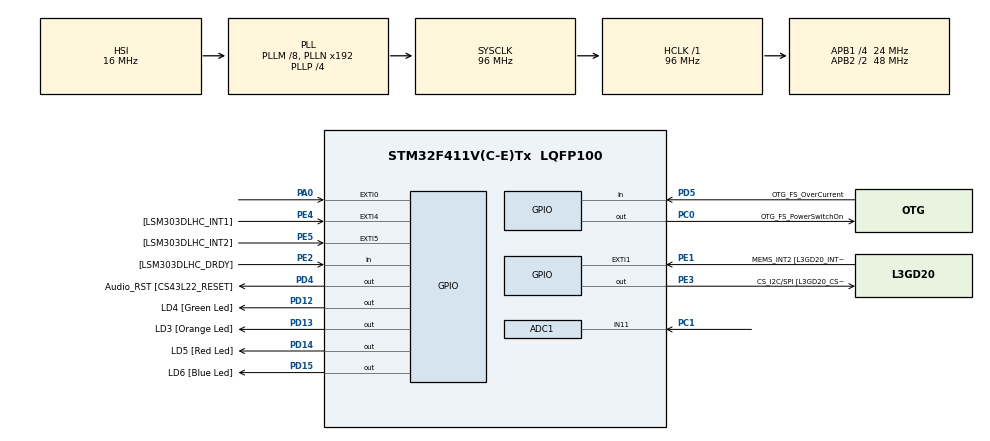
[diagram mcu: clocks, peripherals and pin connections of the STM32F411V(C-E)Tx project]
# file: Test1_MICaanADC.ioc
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ADC1.Channel-0\#ChannelRegularConversion=ADC_CHANNEL_11
ADC1.ContinuousConvMode=ENABLE
ADC1.NbrOfConversionFlag=1
ADC1.Rank-0\#ChannelRegularConversion=1
ADC1.Resolution=ADC_RESOLUTION8b
ADC1.SamplingTime-0\#ChannelRegularConversion=ADC_SAMPLETIME_144CYCLES
ADC1.master=1
Mcu.Family=STM32F4
Mcu.Name=STM32F411V(C-E)Tx
Mcu.Package=LQFP100
NVIC.PriorityGroup=NVIC_PRIORITYGROUP_0
PA0-WKUP.GPIO_ModeDefaultEXTI=GPIO_MODE_EVT_RISING
PA0-WKUP.Signal=GPXTI0
PA10.GPIO_Label=OTG_FS_ID
PA10.Signal=USB_OTG_FS_ID
PA11.GPIO_Label=OTG_FS_DM
PA11.Signal=USB_OTG_FS_DM
PA12.GPIO_Label=OTG_FS_DP
PA12.Signal=USB_OTG_FS_DP
PA13.GPIO_Label=SWDIO
PA13.Signal=SYS_JTMS-SWDIO
PA14.GPIO_Label=SWCLK
PA14.Signal=SYS_JTCK-SWCLK
PA4.GPIO_Label=I2S3_WS [CS43L22_LRCK]
PA4.GPIO_Mode=GPIO_MODE_AF_PP
PA4.GPIO_PuPd=GPIO_NOPULL
PA4.GPIO_Speed=GPIO_SPEED_LOW
PA4.Signal=I2S3_WS
PA5.GPIO_Label=SPI1_SCK [L3GD20_SC/SPC]
PA5.Signal=SPI1_SCK
PA6.GPIO_Label=SPI1_MISO [L3GD20_AS0/SDO]
PA6.Signal=SPI1_MISO
PA7.GPIO_Label=SPI1_MOSI [L3GD20_SDA/SDI/SDO]
PA7.Signal=SPI1_MOSI
PA9.GPIO_Label=VBUS_FS
PA9.Signal=USB_OTG_FS_VBUS
PB10.GPIO_Label=CLK_IN [MP45DT02_CLK]
PB10.Signal=I2S2_CK
PB12.Signal=I2S2_WS
PB3.GPIO_Label=SWO
PB3.Signal=SYS_JTDO-SWO
PB6.GPIO_Label=Audio_SCL [CS43L22_SCL]
PB6.GPIO_Mode=GPIO_MODE_AF_OD
PB6.GPIO_PuPd=GPIO_NOPULL
PB6.GPIO_Speed=GPIO_SPEED_LOW
PB6.Signal=I2C1_SCL
PB9.GPIO_Label=Audio_SDA [CS43L22_SDA]
PB9.GPIO_Mode=GPIO_MODE_AF_OD
PB9.GPIO_PuPd=GPIO_NOPULL
PB9.GPIO_Speed=GPIO_SPEED_LOW
PB9.Signal=I2C1_SDA
PC0.GPIO_Label=OTG_FS_PowerSwitchOn
PC0.Signal=GPIO_Output
PC1.Signal=ADCx_IN11
PC10.GPIO_Label=I2S3_SCK [CS43L22_SCLK]
PC10.GPIO_Mode=GPIO_MODE_AF_PP
PC10.GPIO_PuPd=GPIO_NOPULL
PC10.GPIO_Speed=GPIO_SPEED_LOW
PC10.Signal=I2S3_CK
PC12.GPIO_Label=I2S3_SD [CS43L22_SDIN]
PC12.GPIO_Mode=GPIO_MODE_AF_PP
PC12.GPIO_PuPd=GPIO_NOPULL
PC12.GPIO_Speed=GPIO_SPEED_LOW
PC12.Signal=I2S3_SD
PC14-OSC32_IN.GPIO_Label=PC14-OSC32_IN
PC14-OSC32_IN.Signal=RCC_OSC32_IN
PC15-OSC32_OUT.GPIO_Label=PC15-OSC32_OUT
PC15-OSC32_OUT.Signal=RCC_OSC32_OUT
PC3.GPIO_Label=PDM_OUT [MP45DT02_DOUT]
PC3.Signal=I2S2_SD
PC7.GPIO_Label=I2S3_MCK [CS43L22_MCLK]
PC7.GPIO_Mode=GPIO_MODE_AF_PP
PC7.GPIO_PuPd=GPIO_NOPULL
PC7.GPIO_Speed=GPIO_SPEED_LOW
PC7.Signal=I2S3_MCK
PD12.GPIO_Label=LD4 [Green Led]
PD12.GPIO_PuPd=GPIO_NOPULL
PD12.GPIO_Speed=GPIO_SPEED_LOW
PD12.Signal=GPIO_Output
PD13.GPIO_Label=LD3 [Orange Led]
PD13.GPIO_PuPd=GPIO_NOPULL
PD13.GPIO_Speed=GPIO_SPEED_LOW
PD13.Signal=GPIO_Output
PD14.GPIO_Label=LD5 [Red Led]
PD14.GPIO_PuPd=GPIO_NOPULL
PD14.GPIO_Speed=GPIO_SPEED_LOW
PD14.Signal=GPIO_Output
PD15.GPIO_Label=LD6 [Blue Led]
PD15.GPIO_PuPd=GPIO_NOPULL
PD15.GPIO_Speed=GPIO_SPEED_LOW
PD15.Signal=GPIO_Output
PD4.GPIO_Label=Audio_RST [CS43L22_RESET]
PD4.Signal=GPIO_Output
PD5.GPIO_Label=OTG_FS_OverCurrent
PD5.Signal=GPIO_Input
PE1.GPIO_Label=MEMS_INT2 [L3GD20_INT2]
PE1.GPIO_ModeDefaultEXTI=GPIO_MODE_EVT_RISING
PE1.Signal=GPXTI1
PE2.GPIO_Label=[LSM303DLHC_DRDY]
PE2.Signal=GPIO_Input
PE3.GPIO_Label=CS_I2C/SPI [L3GD20_CS_I2C/SPI]
PE3.Signal=GPIO_Output
PE4.GPIO_Label=[LSM303DLHC_INT1]
PE4.GPIO_ModeDefaultEXTI=GPIO_MODE_EVT_RISING
PE4.Signal=GPXTI4
PE5.GPIO_Label=[LSM303DLHC_INT2]
PE5.GPIO_ModeDefaultEXTI=GPIO_MODE_EVT_RISING
PE5.Signal=GPXTI5
PH0\ -\ OSC_IN.GPIO_Label=PH0-OSC_IN
PH0\ -\ OSC_IN.Signal=RCC_OSC_IN
PH1\ -\ OSC_OUT.GPIO_Label=PH1-OSC_OUT
PH1\ -\ OSC_OUT.Signal=RCC_OSC_OUT
ProjectManager.HeapSize=0x400
ProjectManager.StackSize=0x200
ProjectManager.TargetToolchain=TrueSTUDIO
RCC.48MHZClocksFreq_Value=48000000
RCC.AHBFreq_Value=96000000
RCC.APB1CLKDivider=RCC_HCLK_DIV4
RCC.APB1Freq_Value=24000000
RCC.APB1TimFreq_Value=48000000
RCC.APB2CLKDivider=RCC_HCLK_DIV2
RCC.APB2Freq_Value=48000000
RCC.APB2TimFreq_Value=96000000
RCC.CortexFreq_Value=96000000
RCC.HCLKFreq_Value=96000000
RCC.HSE_VALUE=8000000
RCC.HSI_VALUE=16000000
RCC.LSE_VALUE=32768
RCC.PLLI2SM=5
RCC.PLLI2SN=200
RCC.PLLM=8
RCC.PLLP=RCC_PLLP_DIV4
RCC.PLLQ=8
RCC.SYSCLKFreq_VALUE=96000000
RCC.SYSCLKSource=RCC_SYSCLKSOURCE_PLLCLK
RCC.VCOOutputFreq_Value=384000000
SH.ADCx_IN11.0=ADC1_IN11,IN11
board=STM32F411E-DISCO

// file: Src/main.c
/**
  ******************************************************************************
  * File Name          : main.c
  * Description        : Main program body
  ******************************************************************************
  *
  * COPYRIGHT(c) 2016 STMicroelectronics
  *
  * Redistribution and use in source and binary forms, with or without modification,
  * are permitted provided that the following conditions are met:
  *   1. Redistributions of source code must retain the above copyright notice,
  *      this list of conditions and the following disclaimer.
  *   2. Redistributions in binary form must reproduce the above copyright notice,
  *      this list of conditions and the following disclaimer in the documentation
  *      and/or other materials provided with the distribution.
  *   3. Neither the name of STMicroelectronics nor the names of its contributors
  *      may be used to endorse or promote products derived from this software
  *      without specific prior written permission.
  *
  * THIS SOFTWARE IS PROVIDED BY THE COPYRIGHT HOLDERS AND CONTRIBUTORS "AS IS"
  * AND ANY EXPRESS OR IMPLIED WARRANTIES, INCLUDING, BUT NOT LIMITED TO, THE
  * IMPLIED WARRANTIES OF MERCHANTABILITY AND FITNESS FOR A PARTICULAR PURPOSE ARE
  * DISCLAIMED. IN NO EVENT SHALL THE COPYRIGHT HOLDER OR CONTRIBUTORS BE LIABLE
  * FOR ANY DIRECT, INDIRECT, INCIDENTAL, SPECIAL, EXEMPLARY, OR CONSEQUENTIAL
  * DAMAGES (INCLUDING, BUT NOT LIMITED TO, PROCUREMENT OF SUBSTITUTE GOODS OR
  * SERVICES; LOSS OF USE, DATA, OR PROFITS; OR BUSINESS INTERRUPTION) HOWEVER
  * CAUSED AND ON ANY THEORY OF LIABILITY, WHETHER IN CONTRACT, STRICT LIABILITY,
  * OR TORT (INCLUDING NEGLIGENCE OR OTHERWISE) ARISING IN ANY WAY OUT OF THE USE
  * OF THIS SOFTWARE, EVEN IF ADVISED OF THE POSSIBILITY OF SUCH DAMAGE.
  *
  ******************************************************************************
  */
#include "stm32f4xx_hal.h"

ADC_HandleTypeDef hadc1;

/* USER CODE BEGIN PV */
uint32_t adcVal = 0;
/* Private variables ---------------------------------------------------------*/

/* USER CODE END PV */

void SystemClock_Config(void);
static void MX_GPIO_Init(void);
static void MX_ADC1_Init(void);

/* USER CODE BEGIN PFP */
/* Private function prototypes -----------------------------------------------*/

/* USER CODE END PFP */

int main(void)
{

  /* MCU Configuration----------------------------------------------------------*/

  /* Reset of all peripherals, Initializes the Flash interface and the Systick. */
  HAL_Init();

  /* Configure the system clock */
  SystemClock_Config();

  /* Initialize all configured peripherals */
  MX_GPIO_Init();
  MX_ADC1_Init();

  /* USER CODE BEGIN 2 */
HAL_ADC_Start(&hadc1);
  /* USER CODE END 2 */

  /* Infinite loop */
  while (1)
  {

  /* USER CODE BEGIN 3 */
	  //stap 1 -> lees adc
	  	  	adcVal =  HAL_ADC_GetValue(&hadc1);
	  	  	//stap2 -> display op leds

	  	  	if(adcVal > 196)
	  	  	{
	  	  		HAL_GPIO_WritePin(GPIOD,GPIO_PIN_12,GPIO_PIN_SET);
	  	  		HAL_GPIO_WritePin(GPIOD,GPIO_PIN_13,GPIO_PIN_RESET);
	  	  		HAL_GPIO_WritePin(GPIOD,GPIO_PIN_14,GPIO_PIN_RESET);
	  	  		HAL_GPIO_WritePin(GPIOD,GPIO_PIN_15,GPIO_PIN_RESET);
	  	  	}
	  	  	if(adcVal < 211)
	  	  	{
	  	  		HAL_GPIO_WritePin(GPIOD,GPIO_PIN_12,GPIO_PIN_RESET);
	  	  		HAL_GPIO_WritePin(GPIOD,GPIO_PIN_13,GPIO_PIN_RESET);
	  	  		HAL_GPIO_WritePin(GPIOD,GPIO_PIN_14,GPIO_PIN_RESET);
	  	  		HAL_GPIO_WritePin(GPIOD,GPIO_PIN_15,GPIO_PIN_SET);
	  	  	}
	  	  	if(adcVal < 226)
	  	  	{
	  	  		HAL_GPIO_WritePin(GPIOD,GPIO_PIN_12,GPIO_PIN_RESET);
	  	  		HAL_GPIO_WritePin(GPIOD,GPIO_PIN_13,GPIO_PIN_RESET);
	  	  		HAL_GPIO_WritePin(GPIOD,GPIO_PIN_14,GPIO_PIN_RESET);
	  	  		HAL_GPIO_WritePin(GPIOD,GPIO_PIN_15,GPIO_PIN_SET);
	  	  	}
	  	  	if(adcVal < 255)
	  	  	{
	  	  		HAL_GPIO_WritePin(GPIOD,GPIO_PIN_12,GPIO_PIN_RESET);
	  	  		HAL_GPIO_WritePin(GPIOD,GPIO_PIN_13,GPIO_PIN_RESET);
	  	  		HAL_GPIO_WritePin(GPIOD,GPIO_PIN_14,GPIO_PIN_RESET);
	  	  		HAL_GPIO_WritePin(GPIOD,GPIO_PIN_15,GPIO_PIN_SET);
	  	  	}
  }
  /* USER CODE END 3 */

}

/** System Clock Configuration
*/
void SystemClock_Config(void)
{

  RCC_OscInitTypeDef RCC_OscInitStruct;
  RCC_ClkInitTypeDef RCC_ClkInitStruct;

  __PWR_CLK_ENABLE();

  __HAL_PWR_VOLTAGESCALING_CONFIG(PWR_REGULATOR_VOLTAGE_SCALE1);

  RCC_OscInitStruct.OscillatorType = RCC_OSCILLATORTYPE_HSI;
  RCC_OscInitStruct.HSIState = RCC_HSI_ON;
  RCC_OscInitStruct.HSICalibrationValue = 16;
  RCC_OscInitStruct.PLL.PLLState = RCC_PLL_ON;
  RCC_OscInitStruct.PLL.PLLSource = RCC_PLLSOURCE_HSI;
  RCC_OscInitStruct.PLL.PLLM = 8;
  RCC_OscInitStruct.PLL.PLLN = 192;
  RCC_OscInitStruct.PLL.PLLP = RCC_PLLP_DIV4;
  RCC_OscInitStruct.PLL.PLLQ = 8;
  HAL_RCC_OscConfig(&RCC_OscInitStruct);

  RCC_ClkInitStruct.ClockType = RCC_CLOCKTYPE_HCLK|RCC_CLOCKTYPE_SYSCLK
                              |RCC_CLOCKTYPE_PCLK1|RCC_CLOCKTYPE_PCLK2;
  RCC_ClkInitStruct.SYSCLKSource = RCC_SYSCLKSOURCE_PLLCLK;
  RCC_ClkInitStruct.AHBCLKDivider = RCC_SYSCLK_DIV1;
  RCC_ClkInitStruct.APB1CLKDivider = RCC_HCLK_DIV4;
  RCC_ClkInitStruct.APB2CLKDivider = RCC_HCLK_DIV2;
  HAL_RCC_ClockConfig(&RCC_ClkInitStruct, FLASH_LATENCY_3);

  HAL_SYSTICK_Config(HAL_RCC_GetHCLKFreq()/1000);

  HAL_SYSTICK_CLKSourceConfig(SYSTICK_CLKSOURCE_HCLK);

  /* SysTick_IRQn interrupt configuration */
  HAL_NVIC_SetPriority(SysTick_IRQn, 0, 0);
}

/* ADC1 init function */
void MX_ADC1_Init(void)
{

  ADC_ChannelConfTypeDef sConfig;

    /**Configure the global features of the ADC (Clock, Resolution, Data Alignment and number of conversion)
    */
  hadc1.Instance = ADC1;
  hadc1.Init.ClockPrescaler = ADC_CLOCKPRESCALER_PCLK_DIV2;
  hadc1.Init.Resolution = ADC_RESOLUTION8b;
  hadc1.Init.ScanConvMode = DISABLE;
  hadc1.Init.ContinuousConvMode = ENABLE;
  hadc1.Init.DiscontinuousConvMode = DISABLE;
  hadc1.Init.ExternalTrigConvEdge = ADC_EXTERNALTRIGCONVEDGE_NONE;
  hadc1.Init.DataAlign = ADC_DATAALIGN_RIGHT;
  hadc1.Init.NbrOfConversion = 1;
  hadc1.Init.DMAContinuousRequests = DISABLE;
  hadc1.Init.EOCSelection = EOC_SINGLE_CONV;
  HAL_ADC_Init(&hadc1);

    /**Configure for the selected ADC regular channel its corresponding rank in the sequencer and its sample time.
    */
  sConfig.Channel = ADC_CHANNEL_11;
  sConfig.Rank = 1;
  sConfig.SamplingTime = ADC_SAMPLETIME_144CYCLES;
  HAL_ADC_ConfigChannel(&hadc1, &sConfig);

}

/** Configure pins as
        * Analog
        * Input
        * Output
        * EVENT_OUT
        * EXTI
     PC3   ------> I2S2_SD
     PA4   ------> I2S3_WS
     PA5   ------> SPI1_SCK
     PA6   ------> SPI1_MISO
     PA7   ------> SPI1_MOSI
     PB10   ------> I2S2_CK
     PB12   ------> I2S2_WS
     PC7   ------> I2S3_MCK
     PA9   ------> USB_OTG_FS_VBUS
     PA10   ------> USB_OTG_FS_ID
     PA11   ------> USB_OTG_FS_DM
     PA12   ------> USB_OTG_FS_DP
     PC10   ------> I2S3_CK
     PC12   ------> I2S3_SD
     PB6   ------> I2C1_SCL
     PB9   ------> I2C1_SDA
*/
void MX_GPIO_Init(void)
{

  GPIO_InitTypeDef GPIO_InitStruct;

  /* GPIO Ports Clock Enable */
  __GPIOE_CLK_ENABLE();
  __GPIOC_CLK_ENABLE();
  __GPIOH_CLK_ENABLE();
  __GPIOA_CLK_ENABLE();
  __GPIOB_CLK_ENABLE();
  __GPIOD_CLK_ENABLE();

  /*Configure GPIO pin : PE2 */
  GPIO_InitStruct.Pin = GPIO_PIN_2;
  GPIO_InitStruct.Mode = GPIO_MODE_INPUT;
  GPIO_InitStruct.Pull = GPIO_NOPULL;
  HAL_GPIO_Init(GPIOE, &GPIO_InitStruct);

  /*Configure GPIO pin : CS_I2C_SPI_Pin */
  GPIO_InitStruct.Pin = CS_I2C_SPI_Pin;
  GPIO_InitStruct.Mode = GPIO_MODE_OUTPUT_PP;
  GPIO_InitStruct.Pull = GPIO_NOPULL;
  GPIO_InitStruct.Speed = GPIO_SPEED_LOW;
  HAL_GPIO_Init(CS_I2C_SPI_GPIO_Port, &GPIO_InitStruct);

  /*Configure GPIO pins : PE4 PE5 MEMS_INT2_Pin */
  GPIO_InitStruct.Pin = GPIO_PIN_4|GPIO_PIN_5|MEMS_INT2_Pin;
  GPIO_InitStruct.Mode = GPIO_MODE_EVT_RISING;
  GPIO_InitStruct.Pull = GPIO_NOPULL;
  HAL_GPIO_Init(GPIOE, &GPIO_InitStruct);

  /*Configure GPIO pin : OTG_FS_PowerSwitchOn_Pin */
  GPIO_InitStruct.Pin = OTG_FS_PowerSwitchOn_Pin;
  GPIO_InitStruct.Mode = GPIO_MODE_OUTPUT_PP;
  GPIO_InitStruct.Pull = GPIO_NOPULL;
  GPIO_InitStruct.Speed = GPIO_SPEED_LOW;
  HAL_GPIO_Init(OTG_FS_PowerSwitchOn_GPIO_Port, &GPIO_InitStruct);

  /*Configure GPIO pin : PDM_OUT_Pin */
  GPIO_InitStruct.Pin = PDM_OUT_Pin;
  GPIO_InitStruct.Mode = GPIO_MODE_AF_PP;
  GPIO_InitStruct.Pull = GPIO_NOPULL;
  GPIO_InitStruct.Speed = GPIO_SPEED_LOW;
  GPIO_InitStruct.Alternate = GPIO_AF5_SPI2;
  HAL_GPIO_Init(PDM_OUT_GPIO_Port, &GPIO_InitStruct);

  /*Configure GPIO pin : PA0 */
  GPIO_InitStruct.Pin = GPIO_PIN_0;
  GPIO_InitStruct.Mode = GPIO_MODE_EVT_RISING;
  GPIO_InitStruct.Pull = GPIO_NOPULL;
  HAL_GPIO_Init(GPIOA, &GPIO_InitStruct);

  /*Configure GPIO pin : PA4 */
  GPIO_InitStruct.Pin = GPIO_PIN_4;
  GPIO_InitStruct.Mode = GPIO_MODE_AF_PP;
  GPIO_InitStruct.Pull = GPIO_NOPULL;
  GPIO_InitStruct.Speed = GPIO_SPEED_LOW;
  GPIO_InitStruct.Alternate = GPIO_AF6_SPI3;
  HAL_GPIO_Init(GPIOA, &GPIO_InitStruct);

  /*Configure GPIO pins : PA5 PA6 PA7 */
  GPIO_InitStruct.Pin = GPIO_PIN_5|GPIO_PIN_6|GPIO_PIN_7;
  GPIO_InitStruct.Mode = GPIO_MODE_AF_PP;
  GPIO_InitStruct.Pull = GPIO_NOPULL;
  GPIO_InitStruct.Speed = GPIO_SPEED_HIGH;
  GPIO_InitStruct.Alternate = GPIO_AF5_SPI1;
  HAL_GPIO_Init(GPIOA, &GPIO_InitStruct);

  /*Configure GPIO pins : CLK_IN_Pin PB12 */
  GPIO_InitStruct.Pin = CLK_IN_Pin|GPIO_PIN_12;
  GPIO_InitStruct.Mode = GPIO_MODE_AF_PP;
  GPIO_InitStruct.Pull = GPIO_NOPULL;
  GPIO_InitStruct.Speed = GPIO_SPEED_LOW;
  GPIO_InitStruct.Alternate = GPIO_AF5_SPI2;
  HAL_GPIO_Init(GPIOB, &GPIO_InitStruct);

  /*Configure GPIO pins : LD4_Pin LD3_Pin LD5_Pin LD6_Pin
                           Audio_RST_Pin */
  GPIO_InitStruct.Pin = LD4_Pin|LD3_Pin|LD5_Pin|LD6_Pin
                          |Audio_RST_Pin;
  GPIO_InitStruct.Mode = GPIO_MODE_OUTPUT_PP;
  GPIO_InitStruct.Pull = GPIO_NOPULL;
  GPIO_InitStruct.Speed = GPIO_SPEED_LOW;
  HAL_GPIO_Init(GPIOD, &GPIO_InitStruct);

  /*Configure GPIO pins : PC7 I2S3_SCK_Pin PC12 */
  GPIO_InitStruct.Pin = GPIO_PIN_7|I2S3_SCK_Pin|GPIO_PIN_12;
  GPIO_InitStruct.Mode = GPIO_MODE_AF_PP;
  GPIO_InitStruct.Pull = GPIO_NOPULL;
  GPIO_InitStruct.Speed = GPIO_SPEED_LOW;
  GPIO_InitStruct.Alternate = GPIO_AF6_SPI3;
  HAL_GPIO_Init(GPIOC, &GPIO_InitStruct);

  /*Configure GPIO pin : VBUS_FS_Pin */
  GPIO_InitStruct.Pin = VBUS_FS_Pin;
  GPIO_InitStruct.Mode = GPIO_MODE_INPUT;
  GPIO_InitStruct.Pull = GPIO_NOPULL;
  HAL_GPIO_Init(VBUS_FS_GPIO_Port, &GPIO_InitStruct);

  /*Configure GPIO pins : OTG_FS_ID_Pin OTG_FS_DM_Pin OTG_FS_DP_Pin */
  GPIO_InitStruct.Pin = OTG_FS_ID_Pin|OTG_FS_DM_Pin|OTG_FS_DP_Pin;
  GPIO_InitStruct.Mode = GPIO_MODE_AF_PP;
  GPIO_InitStruct.Pull = GPIO_NOPULL;
  GPIO_InitStruct.Speed = GPIO_SPEED_HIGH;
  GPIO_InitStruct.Alternate = GPIO_AF10_OTG_FS;
  HAL_GPIO_Init(GPIOA, &GPIO_InitStruct);

  /*Configure GPIO pin : OTG_FS_OverCurrent_Pin */
  GPIO_InitStruct.Pin = OTG_FS_OverCurrent_Pin;
  GPIO_InitStruct.Mode = GPIO_MODE_INPUT;
  GPIO_InitStruct.Pull = GPIO_NOPULL;
  HAL_GPIO_Init(OTG_FS_OverCurrent_GPIO_Port, &GPIO_InitStruct);

  /*Configure GPIO pins : Audio_SCL_Pin Audio_SDA_Pin */
  GPIO_InitStruct.Pin = Audio_SCL_Pin|Audio_SDA_Pin;
  GPIO_InitStruct.Mode = GPIO_MODE_AF_OD;
  GPIO_InitStruct.Pull = GPIO_PULLUP;
  GPIO_InitStruct.Speed = GPIO_SPEED_LOW;
  GPIO_InitStruct.Alternate = GPIO_AF4_I2C1;
  HAL_GPIO_Init(GPIOB, &GPIO_InitStruct);

  /*Configure GPIO pin Output Level */
  HAL_GPIO_WritePin(CS_I2C_SPI_GPIO_Port, CS_I2C_SPI_Pin, GPIO_PIN_RESET);

  /*Configure GPIO pin Output Level */
  HAL_GPIO_WritePin(OTG_FS_PowerSwitchOn_GPIO_Port, OTG_FS_PowerSwitchOn_Pin, GPIO_PIN_RESET);

  /*Configure GPIO pin Output Level */
  HAL_GPIO_WritePin(GPIOD, LD4_Pin|LD3_Pin|LD5_Pin|LD6_Pin
                          |Audio_RST_Pin, GPIO_PIN_RESET);

}

/************************ (C) COPYRIGHT STMicroelectronics *****END OF FILE****/
